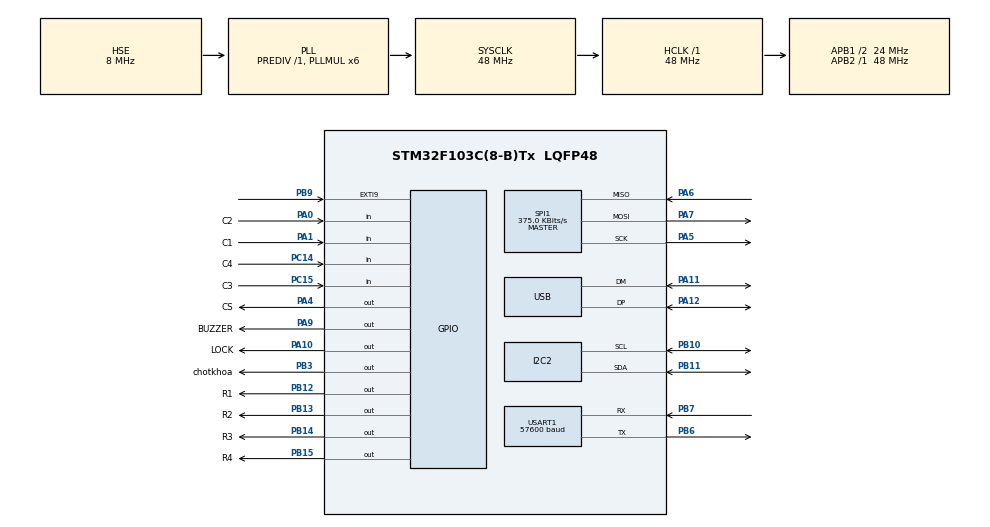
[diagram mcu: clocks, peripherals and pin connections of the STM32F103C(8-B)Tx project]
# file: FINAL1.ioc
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Mcu.Family=STM32F1
Mcu.Name=STM32F103C(8-B)Tx
Mcu.Package=LQFP48
NVIC.EXTI9_5_IRQn=true\:1\:0\:true\:false\:true\:true\:true\:true
NVIC.PriorityGroup=NVIC_PRIORITYGROUP_4
NVIC.TIM2_IRQn=true\:0\:0\:false\:false\:true\:true\:true\:true
NVIC.USB_LP_CAN1_RX0_IRQn=true\:0\:0\:false\:false\:true\:false\:true\:true
PA0-WKUP.GPIO_Label=C2
PA0-WKUP.GPIO_PuPd=GPIO_PULLUP
PA0-WKUP.Signal=GPIO_Input
PA1.GPIO_Label=C1
PA1.GPIO_PuPd=GPIO_PULLUP
PA1.Signal=GPIO_Input
PA10.GPIO_Label=LOCK
PA10.GPIO_PuPd=GPIO_PULLUP
PA10.GPIO_Speed=GPIO_SPEED_FREQ_HIGH
PA10.PinState=GPIO_PIN_SET
PA10.Signal=GPIO_Output
PA11.Mode=Device
PA11.Signal=USB_DM
PA12.Mode=Device
PA12.Signal=USB_DP
PA13.Mode=Serial_Wire
PA13.Signal=SYS_JTMS-SWDIO
PA14.Mode=Serial_Wire
PA14.Signal=SYS_JTCK-SWCLK
PA4.GPIO_Label=CS
PA4.Signal=GPIO_Output
PA5.Mode=Full_Duplex_Master
PA5.Signal=SPI1_SCK
PA6.Mode=Full_Duplex_Master
PA6.Signal=SPI1_MISO
PA7.Mode=Full_Duplex_Master
PA7.Signal=SPI1_MOSI
PA9.GPIO_Label=BUZZER
PA9.GPIO_ModeDefaultOutputPP=GPIO_MODE_OUTPUT_OD
PA9.GPIO_PuPd=GPIO_NOPULL
PA9.GPIO_Speed=GPIO_SPEED_FREQ_HIGH
PA9.Signal=GPIO_Output
PB10.Mode=I2C
PB10.Signal=I2C2_SCL
PB11.Mode=I2C
PB11.Signal=I2C2_SDA
PB12.GPIO_Label=R1
PB12.GPIO_PuPd=GPIO_PULLUP
PB12.GPIO_Speed=GPIO_SPEED_FREQ_HIGH
PB12.Signal=GPIO_Output
PB13.GPIO_Label=R2
PB13.GPIO_PuPd=GPIO_PULLUP
PB13.GPIO_Speed=GPIO_SPEED_FREQ_HIGH
PB13.Signal=GPIO_Output
PB14.GPIO_Label=R3
PB14.GPIO_PuPd=GPIO_PULLUP
PB14.GPIO_Speed=GPIO_SPEED_FREQ_HIGH
PB14.Signal=GPIO_Output
PB15.GPIO_Label=R4
PB15.GPIO_PuPd=GPIO_PULLUP
PB15.GPIO_Speed=GPIO_SPEED_FREQ_HIGH
PB15.Signal=GPIO_Output
PB3.GPIO_Label=chotkhoa
PB3.Signal=GPIO_Output
PB6.Mode=Asynchronous
PB6.Signal=USART1_TX
PB7.Mode=Asynchronous
PB7.Signal=USART1_RX
PB9.GPIO_PuPd=GPIO_PULLUP
PB9.Signal=GPXTI9
PC14-OSC32_IN.GPIO_Label=C4
PC14-OSC32_IN.GPIO_PuPd=GPIO_PULLUP
PC14-OSC32_IN.Signal=GPIO_Input
PC15-OSC32_OUT.GPIO_Label=C3
PC15-OSC32_OUT.GPIO_PuPd=GPIO_PULLUP
PC15-OSC32_OUT.Signal=GPIO_Input
PD0-OSC_IN.Mode=HSE-External-Oscillator
PD0-OSC_IN.Signal=RCC_OSC_IN
PD1-OSC_OUT.Mode=HSE-External-Oscillator
PD1-OSC_OUT.Signal=RCC_OSC_OUT
ProjectManager.HeapSize=0x200
ProjectManager.StackSize=0x400
ProjectManager.TargetToolchain=STM32CubeIDE
RCC.AHBFreq_Value=48000000
RCC.APB1CLKDivider=RCC_HCLK_DIV2
RCC.APB1Freq_Value=24000000
RCC.APB1TimFreq_Value=48000000
RCC.APB2Freq_Value=48000000
RCC.APB2TimFreq_Value=48000000
RCC.HCLKFreq_Value=48000000
RCC.PLLMUL=RCC_PLL_MUL6
RCC.PLLSourceVirtual=RCC_PLLSOURCE_HSE
RCC.SYSCLKFreq_VALUE=48000000
RCC.SYSCLKSource=RCC_SYSCLKSOURCE_PLLCLK
RCC.USBFreq_Value=48000000
SPI1.BaudRatePrescaler=SPI_BAUDRATEPRESCALER_128
SPI1.CalculateBaudRate=375.0 KBits/s
SPI1.Direction=SPI_DIRECTION_2LINES
SPI1.Mode=SPI_MODE_MASTER
SPI1.VirtualType=VM_MASTER
TIM2.AutoReloadPreload=TIM_AUTORELOAD_PRELOAD_ENABLE
TIM2.Period=1999
TIM2.Prescaler=35999
USART1.BaudRate=57600
USART1.VirtualMode=VM_ASYNC
USB_DEVICE.APP_RX_DATA_SIZE=128
USB_DEVICE.APP_TX_DATA_SIZE=128
USB_DEVICE.CLASS_NAME_FS=CDC
USB_DEVICE.VirtualMode=Cdc
USB_DEVICE.VirtualModeFS=Cdc_FS
VP_TIM2_VS_ClockSourceINT.Mode=Internal
VP_USB_DEVICE_VS_USB_DEVICE_CDC_FS.Mode=CDC_FS
board=custom

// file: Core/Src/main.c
/* USER CODE BEGIN Header */
/**
  ******************************************************************************
  * @file           : main.c
  * @brief          : Main program body
  ******************************************************************************
  * @attention
  *
  * <h2><center>&copy; Copyright (c) 2024 STMicroelectronics.
  * All rights reserved.</center></h2>
  *
  * This software component is licensed by ST under Ultimate Liberty license
  * SLA0044, the "License"; You may not use this file except in compliance with
  * the License. You may obtain a copy of the License at:
  *                             www.st.com/SLA0044
  *
  ******************************************************************************
  */
/* USER CODE END Header */
#include "main.h"
#include "usb_device.h"

/* USER CODE BEGIN Includes */
#include "KeyPad.h"
#include "CLCD_I2C.h"
#include "rc522.h"
#include "flash.h"
#include "fingerprint.h"
/* USER CODE END Includes */

/* USER CODE BEGIN PD */
#define StartAddressUID 0x0800F000
#define StartAddressPassword 0x0800F400
#define StartAddressFingerID 0x0800F800
#define Delaymenu 20
#define opendoortime 3000
/* USER CODE END PD */

I2C_HandleTypeDef hi2c2;

SPI_HandleTypeDef hspi1;

TIM_HandleTypeDef htim2;

UART_HandleTypeDef huart1;

/* USER CODE BEGIN PV */
volatile int8_t Rx_Buffer[128];
char Tx_Buffer[10];
CLCD_I2C_Name LCD1;
uint8_t CardID[MFRC522_MAX_LEN];
uint8_t FingerID[1];
uint8_t exitmenu = 255;
uint32_t AddressUID = StartAddressUID;

uint32_t time_cho;
char mess[10];
extern uint8_t pID;
int tmp;
uint8_t ID=0;
uint8_t fingerprint_detected = 0; // Biến c�? để đánh dấu trạng thái vân tay
/* USER CODE END PV */

void SystemClock_Config(void);
static void MX_GPIO_Init(void);
static void MX_SPI1_Init(void);
static void MX_I2C2_Init(void);
static void MX_USART1_UART_Init(void);
static void MX_TIM2_Init(void);
/* USER CODE BEGIN PFP */
void RFID(void);
void FACEID(void);
void FINGER(void);
void PASSWORD(void);
uint8_t CheckUID(uint8_t *data, uint32_t address);
uint8_t CheckListUID(uint8_t *data);
uint8_t checkcountUID(void);
void adduid(uint8_t key);
void checkthe(void);
uint32_t CheckKey(uint8_t key);
void removeuid(uint32_t addressrm);
void startadd(void);
void setaddress(void);
void remoall(void);
void startface(void);
void addface(uint8_t key);
void removeface(uint8_t key);
uint8_t checkfaceid(uint8_t key);
void add_finger();
void read_finger();
void remove_id_finger();
void remove_all_finger();
uint32_t CheckKeyFinger(uint8_t key);
void AddFingerID(uint8_t key);
void RemoveFingerID(uint32_t addressrm);
void enter_password(char *password);
void change_password(void);
uint8_t check_password(char *password);
void set_default_password(void);
void opendoor(void);
void buzzer( uint8_t countbeep);
uint8_t InputID_ADMIN(void);
uint8_t InputID_USER(void);
uint8_t InputID_FINGER();
uint8_t InputID_FACE();
/* USER CODE END PFP */

/* USER CODE BEGIN 0 */
void HAL_TIM_PeriodElapsedCallback(TIM_HandleTypeDef *htim)
{
	if(exitmenu > 0)
		exitmenu --;
	else exitmenu = 0;
}
void check_fingerprint_status()
{
    uint8_t status = collect_finger(); // Hàm kiểm tra trạng thái vân tay
    if (status == 0x00) // Nếu phát hiện vân tay
    {
        fingerprint_detected = 1; // �?ặt c�? báo hiệu
    }
}
void process_fingerprint()
{
    if (fingerprint_detected) // Nếu có vân tay
    {
        fingerprint_detected = 0; // Xóa c�?
        read_finger(); // G�?i hàm xử lý vân tay
    }
}

uint8_t InputID(const char *prompt, uint8_t min, uint8_t max) {
    uint16_t id = 0;
    char id_str[4] = {0};
    uint8_t index = 0;
    char display_prompt[16];
    snprintf(display_prompt, sizeof(display_prompt), "Enter ID (%d-%d):", min, max);
    CLCD_I2C_Display(&LCD1, display_prompt, "ID= ");
    uint32_t start_time = HAL_GetTick();
    while (1) {
        if (HAL_GetTick() - start_time > 15000) { // 15 seconds timeout
            CLCD_I2C_Display(&LCD1, "TIMEOUT", "Try again");
            buzzer(5);
            HAL_Delay(2000);
            exitmenu = Delaymenu;
            return 0; // Return 0 to indicate timeout
        }
        char key = KeyPad_WaitForKeyGetChar(10);
        if (key >= '0' && key <= '9' && index < 3) {
            buzzer(1);
            id_str[index++] = key;
            CLCD_I2C_WriteChar(&LCD1, key);
        } else if (key == '#' && index > 0) {
            buzzer(1);
            id = atoi(id_str);
            if (id >= min && id <= max) {
                break;
            } else {
                CLCD_I2C_Display(&LCD1, "Invalid ID", display_prompt);
                buzzer(5);
                HAL_Delay(2000);
                CLCD_I2C_Display(&LCD1, display_prompt, "ID= ");
                memset(id_str, 0, sizeof(id_str));
                index = 0;
                start_time = HAL_GetTick(); // Reset the timer
            }
        }
    }
    CLCD_I2C_SetCursor(&LCD1, 4, 1);
    CLCD_I2C_WriteString(&LCD1, id_str);
    HAL_Delay(1000);
    return id;
}

uint8_t InputID_ADMIN() {
    return InputID("EnterID (1-27):", 1, 27);
}

uint8_t InputID_USER() {
    return InputID("EnterID (1-100):", 1, 100);
}

uint8_t InputID_FINGER() {
    return InputID("EnterID (1-127):", 1, 127);
}

uint8_t InputID_FACE() {
    return InputID("EnterID (1-127):", 1, 127);
}
/* USER CODE END 0 */

int main(void)
{

  /* MCU Configuration--------------------------------------------------------*/

  /* Reset of all peripherals, Initializes the Flash interface and the Systick. */
  HAL_Init();

  /* Configure the system clock */
  SystemClock_Config();

  /* Initialize all configured peripherals */
  MX_GPIO_Init();
  MX_SPI1_Init();
  MX_I2C2_Init();
  MX_USART1_UART_Init();
  MX_TIM2_Init();
  MX_USB_DEVICE_Init();
  /* USER CODE BEGIN 2 */
  TM_MFRC522_Init();
  KeyPad_Init();
  CLCD_I2C_Init(&LCD1, &hi2c2, 0x4E, 16, 2);

  HAL_GPIO_WritePin(BUZZER_GPIO_Port, BUZZER_Pin,1);
  HAL_GPIO_WritePin(LOCK_GPIO_Port, LOCK_Pin, 0);

  // Check if the password is set, if not, set the default password
  char stored_password[7] = {0};
  Flash_Read_Array(StartAddressPassword, (uint8_t *)stored_password, 6);
  stored_password[6] = '\0';
  int is_empty = 1;
  for (int i = 0; i < 6; i++) {
      if (stored_password[i] != (char)0xFF) {
          is_empty = 0;
          break;
      }
  }
  if (is_empty) {
      set_default_password();
  }
  /* USER CODE END 2 */

  /* Infinite loop */
  /* USER CODE BEGIN WHILE */
  HAL_TIM_Base_Start_IT(&htim2);
  if (checkcountUID() == 0)
  {
      startadd();
  }
  int incorrect_attempts = 0;
  while (1)
  {
    /* USER CODE END WHILE */

    /* USER CODE BEGIN 3 */
    CLCD_I2C_Clear(&LCD1);
    CLCD_I2C_SetCursor(&LCD1, 0, 0);
    CLCD_I2C_WriteString(&LCD1, " SCAN YOUR CARD");

    char selected_key = KeyPad_WaitForKeyGetChar(10); // Ch�? vô hạn cho đ���n khi có phím nhấn.

    if (selected_key == '#')
    {
    	buzzer(1);
        char entered_password[7] = {0};
        CLCD_I2C_Display(&LCD1, "ENTER PASSWORD", "");
        enter_password(entered_password);
        if (check_password(entered_password)) {
            CLCD_I2C_Display(&LCD1, "    WELCOME", "");
            opendoor();
            incorrect_attempts = 0; // Reset incorrect attempts on successful login
        } else {
            incorrect_attempts++;
            CLCD_I2C_Display(&LCD1, "WRONG PASSWORD", "");
            buzzer(5);
            int delay_time = 0;
            if (incorrect_attempts == 1) {
                delay_time = 5;
            } else if (incorrect_attempts == 2) {
                delay_time = 10;
            } else if (incorrect_attempts >= 3) {
                delay_time = 20;
            }
            for (int i = delay_time; i > 0; i--) {
                char buffer[16];
                snprintf(buffer, sizeof(buffer), "     WAIT %ds", i);
                CLCD_I2C_Display(&LCD1, buffer, "  TO TRY AGAIN");
                HAL_Delay(1000);
            }
        }
        HAL_Delay(2000);
        CLCD_I2C_Clear(&LCD1);
    }
    else if (selected_key != 0)
    {
    	buzzer(1);
        uint8_t key = 0; // Key quản lý quy�?n truy cập.
        exitmenu = 15;

        switch (selected_key)
        {
        case 'A': // RFID
        case 'B': // FACEID
        case 'C': // FINGER
        case 'D': // PASSWORD
            CLCD_I2C_SetCursor(&LCD1, 0, 1);
            CLCD_I2C_WriteString(&LCD1, "   Admin Card");

            while (exitmenu)
            {
                if (TM_MFRC522_Check(CardID) == MI_OK)
                {
                    key = CheckListUID(CardID);
                    key = key >> 7;
                    break;
                }
            }

            switch (key)
            {
            case 1:
                if (selected_key == 'A')
                    RFID();
                else if (selected_key == 'B')
                    FACEID();
                else if (selected_key == 'C')
                    FINGER();
                else if (selected_key == 'D')
                    PASSWORD();
                break;
            default:
                CLCD_I2C_Clear(&LCD1);
                CLCD_I2C_SetCursor(&LCD1, 0, 0);
                CLCD_I2C_WriteString(&LCD1, "NOT ACCESSIBLE");
                buzzer(5);
                HAL_Delay(2000);
                CLCD_I2C_Clear(&LCD1);
                break;
            }
            break;

        default:
            break;
        }
    }
    else if (TM_MFRC522_Check(CardID) == MI_OK)
    {
        if (CheckListUID(CardID) != 0)
        {
            CLCD_I2C_Clear(&LCD1);
            CLCD_I2C_SetCursor(&LCD1, 0, 0);
            CLCD_I2C_WriteString(&LCD1, "    WELCOME");
            opendoor();
        }
        else
        {
            CLCD_I2C_Clear(&LCD1);
            CLCD_I2C_SetCursor(&LCD1, 0, 0);
            CLCD_I2C_WriteString(&LCD1, "   WRONG CARD");
            buzzer(5);
            HAL_Delay(2000);
        }
    }
    else if(Rx_Buffer[0]!= 0)
    {
        startface();
    }

    // Kiểm tra trạng thái vân tay định kỳ
    check_fingerprint_status();

    // Xử lý vân tay nếu phát hiện
    process_fingerprint();

  }
  /* USER CODE END 3 */
}

void SystemClock_Config(void)
{
  RCC_OscInitTypeDef RCC_OscInitStruct = {0};
  RCC_ClkInitTypeDef RCC_ClkInitStruct = {0};
  RCC_PeriphCLKInitTypeDef PeriphClkInit = {0};

  /** Initializes the RCC Oscillators according to the specified parameters
  * in the RCC_OscInitTypeDef structure.
  */
  RCC_OscInitStruct.OscillatorType = RCC_OSCILLATORTYPE_HSE;
  RCC_OscInitStruct.HSEState = RCC_HSE_ON;
  RCC_OscInitStruct.HSEPredivValue = RCC_HSE_PREDIV_DIV1;
  RCC_OscInitStruct.HSIState = RCC_HSI_ON;
  RCC_OscInitStruct.PLL.PLLState = RCC_PLL_ON;
  RCC_OscInitStruct.PLL.PLLSource = RCC_PLLSOURCE_HSE;
  RCC_OscInitStruct.PLL.PLLMUL = RCC_PLL_MUL6;
  if (HAL_RCC_OscConfig(&RCC_OscInitStruct) != HAL_OK)
  {
    Error_Handler();
  }
  /** Initializes the CPU, AHB and APB buses clocks
  */
  RCC_ClkInitStruct.ClockType = RCC_CLOCKTYPE_HCLK|RCC_CLOCKTYPE_SYSCLK
                              |RCC_CLOCKTYPE_PCLK1|RCC_CLOCKTYPE_PCLK2;
  RCC_ClkInitStruct.SYSCLKSource = RCC_SYSCLKSOURCE_PLLCLK;
  RCC_ClkInitStruct.AHBCLKDivider = RCC_SYSCLK_DIV1;
  RCC_ClkInitStruct.APB1CLKDivider = RCC_HCLK_DIV2;
  RCC_ClkInitStruct.APB2CLKDivider = RCC_HCLK_DIV1;

  if (HAL_RCC_ClockConfig(&RCC_ClkInitStruct, FLASH_LATENCY_1) != HAL_OK)
  {
    Error_Handler();
  }
  PeriphClkInit.PeriphClockSelection = RCC_PERIPHCLK_USB;
  PeriphClkInit.UsbClockSelection = RCC_USBCLKSOURCE_PLL;
  if (HAL_RCCEx_PeriphCLKConfig(&PeriphClkInit) != HAL_OK)
  {
    Error_Handler();
  }
}

static void MX_I2C2_Init(void)
{

  hi2c2.Instance = I2C2;
  hi2c2.Init.ClockSpeed = 100000;
  hi2c2.Init.DutyCycle = I2C_DUTYCYCLE_2;
  hi2c2.Init.OwnAddress1 = 0;
  hi2c2.Init.AddressingMode = I2C_ADDRESSINGMODE_7BIT;
  hi2c2.Init.DualAddressMode = I2C_DUALADDRESS_DISABLE;
  hi2c2.Init.OwnAddress2 = 0;
  hi2c2.Init.GeneralCallMode = I2C_GENERALCALL_DISABLE;
  hi2c2.Init.NoStretchMode = I2C_NOSTRETCH_DISABLE;
  if (HAL_I2C_Init(&hi2c2) != HAL_OK)
  {
    Error_Handler();
  }

}

static void MX_SPI1_Init(void)
{

  /* SPI1 parameter configuration*/
  hspi1.Instance = SPI1;
  hspi1.Init.Mode = SPI_MODE_MASTER;
  hspi1.Init.Direction = SPI_DIRECTION_2LINES;
  hspi1.Init.DataSize = SPI_DATASIZE_8BIT;
  hspi1.Init.CLKPolarity = SPI_POLARITY_LOW;
  hspi1.Init.CLKPhase = SPI_PHASE_1EDGE;
  hspi1.Init.NSS = SPI_NSS_SOFT;
  hspi1.Init.BaudRatePrescaler = SPI_BAUDRATEPRESCALER_128;
  hspi1.Init.FirstBit = SPI_FIRSTBIT_MSB;
  hspi1.Init.TIMode = SPI_TIMODE_DISABLE;
  hspi1.Init.CRCCalculation = SPI_CRCCALCULATION_DISABLE;
  hspi1.Init.CRCPolynomial = 10;
  if (HAL_SPI_Init(&hspi1) != HAL_OK)
  {
    Error_Handler();
  }

}

static void MX_TIM2_Init(void)
{

  TIM_ClockConfigTypeDef sClockSourceConfig = {0};
  TIM_MasterConfigTypeDef sMasterConfig = {0};

  htim2.Instance = TIM2;
  htim2.Init.Prescaler = 35999;
  htim2.Init.CounterMode = TIM_COUNTERMODE_UP;
  htim2.Init.Period = 1999;
  htim2.Init.ClockDivision = TIM_CLOCKDIVISION_DIV1;
  htim2.Init.AutoReloadPreload = TIM_AUTORELOAD_PRELOAD_ENABLE;
  if (HAL_TIM_Base_Init(&htim2) != HAL_OK)
  {
    Error_Handler();
  }
  sClockSourceConfig.ClockSource = TIM_CLOCKSOURCE_INTERNAL;
  if (HAL_TIM_ConfigClockSource(&htim2, &sClockSourceConfig) != HAL_OK)
  {
    Error_Handler();
  }
  sMasterConfig.MasterOutputTrigger = TIM_TRGO_RESET;
  sMasterConfig.MasterSlaveMode = TIM_MASTERSLAVEMODE_DISABLE;
  if (HAL_TIMEx_MasterConfigSynchronization(&htim2, &sMasterConfig) != HAL_OK)
  {
    Error_Handler();
  }

}

static void MX_USART1_UART_Init(void)
{

  huart1.Instance = USART1;
  huart1.Init.BaudRate = 57600;
  huart1.Init.WordLength = UART_WORDLENGTH_8B;
  huart1.Init.StopBits = UART_STOPBITS_1;
  huart1.Init.Parity = UART_PARITY_NONE;
  huart1.Init.Mode = UART_MODE_TX_RX;
  huart1.Init.HwFlowCtl = UART_HWCONTROL_NONE;
  huart1.Init.OverSampling = UART_OVERSAMPLING_16;
  if (HAL_UART_Init(&huart1) != HAL_OK)
  {
    Error_Handler();
  }

}

static void MX_GPIO_Init(void)
{
  GPIO_InitTypeDef GPIO_InitStruct = {0};

  /* GPIO Ports Clock Enable */
  __HAL_RCC_GPIOC_CLK_ENABLE();
  __HAL_RCC_GPIOD_CLK_ENABLE();
  __HAL_RCC_GPIOA_CLK_ENABLE();
  __HAL_RCC_GPIOB_CLK_ENABLE();

  /*Configure GPIO pin Output Level */
  HAL_GPIO_WritePin(GPIOA, CS_Pin|BUZZER_Pin, GPIO_PIN_RESET);

  /*Configure GPIO pin Output Level */
  HAL_GPIO_WritePin(GPIOB, R1_Pin|R2_Pin|R3_Pin|R4_Pin
                          |chotkhoa_Pin, GPIO_PIN_RESET);

  /*Configure GPIO pin Output Level */
  HAL_GPIO_WritePin(LOCK_GPIO_Port, LOCK_Pin, GPIO_PIN_SET);

  /*Configure GPIO pins : C4_Pin C3_Pin */
  GPIO_InitStruct.Pin = C4_Pin|C3_Pin;
  GPIO_InitStruct.Mode = GPIO_MODE_INPUT;
  GPIO_InitStruct.Pull = GPIO_PULLUP;
  HAL_GPIO_Init(GPIOC, &GPIO_InitStruct);

  /*Configure GPIO pins : C2_Pin C1_Pin */
  GPIO_InitStruct.Pin = C2_Pin|C1_Pin;
  GPIO_InitStruct.Mode = GPIO_MODE_INPUT;
  GPIO_InitStruct.Pull = GPIO_PULLUP;
  HAL_GPIO_Init(GPIOA, &GPIO_InitStruct);

  /*Configure GPIO pin : CS_Pin */
  GPIO_InitStruct.Pin = CS_Pin;
  GPIO_InitStruct.Mode = GPIO_MODE_OUTPUT_PP;
  GPIO_InitStruct.Pull = GPIO_NOPULL;
  GPIO_InitStruct.Speed = GPIO_SPEED_FREQ_LOW;
  HAL_GPIO_Init(CS_GPIO_Port, &GPIO_InitStruct);

  /*Configure GPIO pins : R1_Pin R2_Pin R3_Pin R4_Pin */
  GPIO_InitStruct.Pin = R1_Pin|R2_Pin|R3_Pin|R4_Pin;
  GPIO_InitStruct.Mode = GPIO_MODE_OUTPUT_PP;
  GPIO_InitStruct.Pull = GPIO_PULLUP;
  GPIO_InitStruct.Speed = GPIO_SPEED_FREQ_HIGH;
  HAL_GPIO_Init(GPIOB, &GPIO_InitStruct);

  /*Configure GPIO pin : BUZZER_Pin */
  GPIO_InitStruct.Pin = BUZZER_Pin;
  GPIO_InitStruct.Mode = GPIO_MODE_OUTPUT_OD;
  GPIO_InitStruct.Pull = GPIO_NOPULL;
  GPIO_InitStruct.Speed = GPIO_SPEED_FREQ_HIGH;
  HAL_GPIO_Init(BUZZER_GPIO_Port, &GPIO_InitStruct);

  /*Configure GPIO pin : LOCK_Pin */
  GPIO_InitStruct.Pin = LOCK_Pin;
  GPIO_InitStruct.Mode = GPIO_MODE_OUTPUT_PP;
  GPIO_InitStruct.Pull = GPIO_PULLUP;
  GPIO_InitStruct.Speed = GPIO_SPEED_FREQ_HIGH;
  HAL_GPIO_Init(LOCK_GPIO_Port, &GPIO_InitStruct);

  /*Configure GPIO pin : chotkhoa_Pin */
  GPIO_InitStruct.Pin = chotkhoa_Pin;
  GPIO_InitStruct.Mode = GPIO_MODE_OUTPUT_PP;
  GPIO_InitStruct.Pull = GPIO_NOPULL;
  GPIO_InitStruct.Speed = GPIO_SPEED_FREQ_LOW;
  HAL_GPIO_Init(chotkhoa_GPIO_Port, &GPIO_InitStruct);

  /*Configure GPIO pin : PB9 */
  GPIO_InitStruct.Pin = GPIO_PIN_9;
  GPIO_InitStruct.Mode = GPIO_MODE_IT_RISING;
  GPIO_InitStruct.Pull = GPIO_PULLUP;
  HAL_GPIO_Init(GPIOB, &GPIO_InitStruct);

  /* EXTI interrupt init*/
  HAL_NVIC_SetPriority(EXTI9_5_IRQn, 1, 0);
  HAL_NVIC_EnableIRQ(EXTI9_5_IRQn);

}

/* USER CODE BEGIN 4 */
void RFID(void)
{
	buzzer(1);
	exitmenu = Delaymenu;
	uint8_t status = -1;
	CLCD_I2C_Display(&LCD1," RFID SETTINGS ","Pls Press DOWN");
	while (exitmenu )
	{
		char key_pressed = KeyPad_WaitForKeyGetChar(10);
		if (key_pressed =='*')
		{
			buzzer(1);
			exitmenu = Delaymenu;
			status++;
			status = (status > 2) ? (-1) : status;
			switch (status)
			{
			case 0:
				CLCD_I2C_Display(&LCD1," RFID SETTINGS ","=> Add Card");
				break;
			case 1:
				CLCD_I2C_Display(&LCD1," RFID SETTINGS ","=> Remove Card");
				break;
			case 2:
				CLCD_I2C_Display(&LCD1," RFID SETTINGS ","=> Check Card");
				break;
			default:
				CLCD_I2C_Display(&LCD1," RFID SETTINGS ","=> Back");
				break;
			}
		}
		if (key_pressed =='#')
		{
			buzzer(1);
			exitmenu = Delaymenu;
			switch (status)
			{
			case 0:
				CLCD_I2C_Display(&LCD1,"  Please Press","      DOWN");
				uint8_t statusadd = -1;
				uint8_t back = 1;
				while (back == 1)
				{
					key_pressed = KeyPad_WaitForKeyGetChar(10);
					if (exitmenu == 0)
					{
						CLCD_I2C_Clear(&LCD1);
						HAL_Delay(1000);
						return;
					}
					if (key_pressed =='*')
					{
						buzzer(1);
						exitmenu = Delaymenu;
						statusadd++;
						statusadd = (statusadd > 1) ? (-1) : statusadd;
						switch (statusadd)
						{
						case 0:
							CLCD_I2C_Display(&LCD1,"CARD: ADD","=> Admin Card");
							break;
						case 1:
							CLCD_I2C_Display(&LCD1,"CARD: ADD","=> User Card");
							break;
						default:
							CLCD_I2C_Display(&LCD1,"CARD: ADD","=> Back");
							break;
						}
					}
					if (key_pressed =='#')
					{
						buzzer(1);
						exitmenu = Delaymenu;
						switch (statusadd)
						{
						case 0:
							uint8_t AdminID = InputID_ADMIN();
							uint8_t keyadd_admin = (1 << 7) + AdminID;
							if (CheckKey(keyadd_admin)!=0)
							{
								CLCD_I2C_Display(&LCD1," ID is existing"," Pick another ID");
								buzzer(3);
								HAL_Delay(1000);
							}
							else
							{
								adduid(keyadd_admin);
							}
							CLCD_I2C_Display(&LCD1,"CARD: ADD","=> Admin Card");
							break;
						case 1:
							uint8_t UserID = InputID_USER();
							uint8_t keyadd_user = (0 << 7) + UserID;
							if (CheckKey(keyadd_user)!=0)
							{
								CLCD_I2C_Display(&LCD1," ID is existing"," Pick another ID");
								buzzer(3);
								HAL_Delay(1000);
							}
							else
							{
								adduid(keyadd_user);
							}
							CLCD_I2C_Display(&LCD1,"CARD: ADD","=> User Card");
							break;
						default:
							back = 0;
							break;
						}
					}
				}
				CLCD_I2C_Display(&LCD1," RFID SETTINGS ","=> Add Card");
				break;
			case 1:
				CLCD_I2C_Display(&LCD1,"  Please Press","      DOWN");
				uint8_t statusremove = -1;
				uint8_t backrm = 1;
				while (backrm == 1)
				{
					key_pressed = KeyPad_WaitForKeyGetChar(10);
					if (exitmenu == 0)
					{
						CLCD_I2C_Clear(&LCD1);
						HAL_Delay(1000);
						return;
					}
					if (key_pressed =='*')
					{
						buzzer(1);
						exitmenu = Delaymenu;
						statusremove++;
						statusremove = (statusremove > 1) ? (-1) : statusremove;
						switch (statusremove)
						{
						case 0:
							CLCD_I2C_Display(&LCD1,"CARD: REMOVE","=> Remove 1 Card");
							break;
						case 1:
							CLCD_I2C_Display(&LCD1,"CARD: REMOVE","=> Remove ALL");
							break;
						default:
							CLCD_I2C_Display(&LCD1,"CARD: REMOVE","=> Back");
							break;
						}
					}
					if (key_pressed =='#')
					{
						buzzer(1);
						CLCD_I2C_Display(&LCD1,"  Please Press","      DOWN");
						exitmenu = Delaymenu;
						switch (statusremove)
						{
						case 0:
							uint8_t statusrm1 = -1;
							uint8_t backrm1 = 1;
							while (backrm1 == 1)
							{
								key_pressed = KeyPad_WaitForKeyGetChar(10);
								if (exitmenu == 0)
								{
									CLCD_I2C_Clear(&LCD1);
									HAL_Delay(1000);
									return;
								}
								if (key_pressed =='*')
								{
									buzzer(1);
									statusrm1++;
									statusrm1 = (statusrm1 > 2) ? 0 : statusrm1;
									switch (statusrm1)
									{
									case 0:
										CLCD_I2C_Display(&LCD1,"MODE: REMOVE 1","=> Select Card");
										break;
									case 1:
										CLCD_I2C_Display(&LCD1,"MODE: REMOVE 1","=> Scan Card");
										break;
									default:
										CLCD_I2C_Display(&LCD1,"MODE: REMOVE 1","=> Back");
										break;
									}
								}
								if (key_pressed =='#')
								{
									buzzer(1);
									exitmenu = Delaymenu;
									switch (statusrm1)
									{
									case 0:
										CLCD_I2C_Display(&LCD1,"  Please Press","      DOWN");
										uint8_t statusadd = -1;
										uint8_t backrm10 = 1;
										while (backrm10 == 1)
										{
											key_pressed = KeyPad_WaitForKeyGetChar(10);
											if (exitmenu == 0)
											{
												CLCD_I2C_Clear(&LCD1);
												HAL_Delay(1000);
												return;
											}
											if (key_pressed =='*')
											{
												buzzer(1);
												exitmenu = Delaymenu;
												statusadd++;
												statusadd = (statusadd > 1) ? (-1) : statusadd;
												switch (statusadd)
												{
												case 0:
													CLCD_I2C_Display(&LCD1,"MODE: RM SELECT","=> RM Admin Card");
													break;
												case 1:
													CLCD_I2C_Display(&LCD1,"MODE: RM SELECT","=> RM User Card");
													break;
												default:
													CLCD_I2C_Display(&LCD1,"MODE: RM SELECT","=> Back");
													break;
												}
											}
											if (key_pressed =='#')
											{
												buzzer(1);
												exitmenu = Delaymenu;
												switch (statusadd)
												{
													case 0:
														uint8_t AdminID = InputID_ADMIN();
														uint8_t keyadd_admin = (1 << 7) + AdminID;
														if (CheckKey(keyadd_admin)==0)
														{
															CLCD_I2C_Display(&LCD1,"ID doesnt exist"," Pick another ID");
															buzzer(3);
															HAL_Delay(1000);
															CLCD_I2C_Display(&LCD1,"MODE: RM SELECT","=> RM Admin Card");
														}
														else
														{
															removeuid(CheckKey(keyadd_admin));
															CLCD_I2C_Display(&LCD1,"REMOVE ADMIN CARD","   SUCCESSFUL  ");
															HAL_Delay(1000);
															if (checkcountUID() == 0)
															{
																startadd();
																exitmenu = 0;
															}
														}
														CLCD_I2C_Display(&LCD1,"MODE: RM SELECT","=> RM Admin Card");
														break;
													case 1:
														uint8_t UserID = InputID_USER();
														uint8_t keyadd_user = (0 << 7) + UserID;
														if (CheckKey(keyadd_user)==0)
														{
															CLCD_I2C_Display(&LCD1,"ID doesnt exist"," Pick another ID");
															buzzer(3);
															HAL_Delay(1000);
														}
														else
														{
															removeuid(CheckKey(keyadd_user));
															CLCD_I2C_Display(&LCD1,"REMOVE USER CARD","   SUCCESSFUL  ");
															HAL_Delay(1000);
															if (checkcountUID() == 0)
															{
																startadd();
																exitmenu = 0;
															}
														}
														CLCD_I2C_Display(&LCD1,"MODE: RM SELECT","=> RM User Card");
														break;
													default:
														backrm10 = 0;
														break;
												}
											}
										}
										CLCD_I2C_Display(&LCD1,"MODE: REMOVE 1","=> Select Card");
										break;
									case 1:
										CLCD_I2C_Display(&LCD1,"PLS SCAN CARD","=> Back");
										uint8_t rmquet = 1;
										while (rmquet)
										{
											key_pressed = KeyPad_WaitForKeyGetChar(10);
											if (TM_MFRC522_Check(CardID) == MI_OK)
											{
												if (CheckListUID(CardID) != 0)
												{
													removeuid(CheckKey(CheckListUID(CardID)));
													CLCD_I2C_Display(&LCD1,"  DELETE CARD ","   SUCCESSFUL  ");
													HAL_Delay(1000);
													if (checkcountUID() == 0)
													{
														startadd();
														rmquet = 1;
														exitmenu = 0;
														return;
													}else{
														CLCD_I2C_Display(&LCD1,"PLS SCAN CARD","=> Back");
													}
												}
												else
												{
													CLCD_I2C_Display(&LCD1, "   This card","  Do not exist");
													buzzer(3);
													HAL_Delay(1000);
													CLCD_I2C_Display(&LCD1,"PLS SCAN CARD","=> Back");
												}
											}
											if (key_pressed =='#')
											{
												buzzer(1);
												rmquet = 0;
											}
										}
										CLCD_I2C_Display(&LCD1,"MODE: REMOVE 1","=> Scan Card");
										break;
									default:
										backrm1 = 0;
										break;
									}
								}
							}
							CLCD_I2C_Display(&LCD1,"CARD: REMOVE","=> Remove 1 Card");
							break;
						case 1:
							remoall();
							startadd();
							exitmenu = 0;
							break;
						default:
							backrm = 0;
							break;
						}
					}
				}
				CLCD_I2C_Display(&LCD1," RFID SETTINGS ","=> Remove Card");
				break;
			case 2:
				checkthe();
				CLCD_I2C_Display(&LCD1," RFID SETTINGS ","=> Check Card");
				break;
			default:
				exitmenu = 0;
				break;
			}
		}
	}
	CLCD_I2C_Clear(&LCD1);
}

uint8_t CheckListUID(uint8_t *data)
{
    uint32_t pt = StartAddressUID;
    while (Flash_Read_Byte(pt + 5) != 0xFF)
    {
        if (Flash_Read_2Byte(pt + 6) == 0xFFFF)
        {
            if (CheckUID(data, pt) == 1)
                return *(uint8_t *)(pt + 5);
        }
        pt = pt + 8;
    }
    return 0;
}

uint8_t checkcountUID(void)
{
    uint32_t pt = StartAddressUID;
    uint8_t count = 0;
    while (Flash_Read_Byte(pt + 5) != 0xFF)
    {
        if (Flash_Read_2Byte(pt + 6) == 0xFFFF)
        {
            if ((Flash_Read_Byte(pt + 5) >> 7) == 1)
            {
                count++;
            }
        }
        pt = pt + 8;
    }
    return count;
}

void adduid(uint8_t key)
{
    setaddress();
    CLCD_I2C_Display(&LCD1, "SCAN CARD", "=> Back");
    while (exitmenu)
    {
        if (TM_MFRC522_Check(CardID) == MI_OK)
        {
            HAL_Delay(100);
            if (CheckListUID(CardID) == 0)
            {
                buzzer(1);
                CardID[5] = key;
                Flash_Write_Array(AddressUID, CardID, 6);
                AddressUID += 8;
                CLCD_I2C_Clear(&LCD1);
                CLCD_I2C_SetCursor(&LCD1, 0, 0);
                CLCD_I2C_WriteString(&LCD1, "   SUCCESSFUL");
                HAL_Delay(1000);
                return;
            }
            else
            {
                CLCD_I2C_Clear(&LCD1);
                CLCD_I2C_SetCursor(&LCD1, 0, 0);
                CLCD_I2C_WriteString(&LCD1, "CARD EXISTED");
                buzzer(3);
                HAL_Delay(1000);
                CLCD_I2C_Display(&LCD1, "SCAN CARD", "=> Back");
            }
        }
        if (KeyPad_WaitForKeyGetChar(100) == '#')
        {
            buzzer(1);
            return;
        }
    }
}

void checkthe(void)
{
    exitmenu = 30;
    CLCD_I2C_Display(&LCD1, "SCAN CARD", "=> Back");
    while (exitmenu)
    {
        if (TM_MFRC522_Check(CardID) == MI_OK)
        {
            if (CheckListUID(CardID) == 0)
            {
                CLCD_I2C_Clear(&LCD1);
                CLCD_I2C_SetCursor(&LCD1, 0, 0);
                CLCD_I2C_WriteString(&LCD1, "CARD DONT EXIST");
                buzzer(3);
                HAL_Delay(1000);
                CLCD_I2C_Display(&LCD1, "SCAN CARD", "=> Back");
                HAL_Delay(1000);
            }
            else
            {
                uint8_t key = CheckListUID(CardID);
                uint8_t key2 = key & 0x7F;
                uint8_t key1 = (key & 0x80) >> 7;
                CLCD_I2C_Clear(&LCD1);
                buzzer(1);
                switch (key1)
                {
                case 1:
                    CLCD_I2C_SetCursor(&LCD1, 0, 0);
                    CLCD_I2C_WriteString(&LCD1, "ADMIN CARD");
                    break;
                default:
                    CLCD_I2C_SetCursor(&LCD1, 0, 0);
                    CLCD_I2C_WriteString(&LCD1, "USER CARD");
                    break;
                }
                char buffer[16];
                snprintf(buffer, sizeof(buffer), "Card ID: %d", key2);
                CLCD_I2C_SetCursor(&LCD1, 0, 1);
                CLCD_I2C_WriteString(&LCD1, buffer);
                HAL_Delay(1000);
                CLCD_I2C_Display(&LCD1, "PLS SCAN CARD", "=> Back");
            }
        }
        if (KeyPad_WaitForKeyGetChar(100) == '#')
        {
            buzzer(1);
            return;
        }
    }
}

uint32_t CheckKey(uint8_t key)
{
    uint32_t pt = StartAddressUID;
    while (Flash_Read_Byte(pt + 5) != 0xFF)
    {
        if (Flash_Read_2Byte(pt + 6) == 0xFFFF)
        {
            if (*(uint8_t *)(pt + 5) == key)
                return pt;
        }
        pt = pt + 8;
    }
    return 0;
}

void FACEID(void) {
	buzzer(1);
	exitmenu = Delaymenu;
	uint8_t status = -1;
	CLCD_I2C_Display(&LCD1,"FACEID SETTINGS ","Pls Press DOWN");
	while (exitmenu )
	{
		char key_pressed = KeyPad_WaitForKeyGetChar(10);
		if (key_pressed == '*')
		{
			buzzer(1);
			exitmenu = Delaymenu;
			status++;
			status = (status > 1) ? (-1) : status;
			switch (status)
			{
			case 0:
				CLCD_I2C_Display(&LCD1,"FACEID SETTINGS ","=> Add FaceID");
				break;
			case 1:
				CLCD_I2C_Display(&LCD1,"FACEID SETTINGS ","=> Remove FaceID");
				break;
			default:
				CLCD_I2C_Display(&LCD1,"FACEID SETTINGS ","=> Back");
				break;
			}
		}
		if (key_pressed == '#')
		{
			buzzer(1);
			exitmenu = Delaymenu;
			switch (status)
			{
			case 0:
				uint8_t FaceID = InputID_FACE();
				if (checkfaceid(FaceID) != 0)
				{
					CLCD_I2C_Display(&LCD1,"    FACEID "," Face Existed ");
					buzzer(3);
					HAL_Delay(1000);
				}
				else
				{
					addface(FaceID);
				}
				CLCD_I2C_Display(&LCD1,"FACEID SETTINGS ","=> Add FaceID");
				break;
			case 1:
				CLCD_I2C_Display(&LCD1,"  Please Press","      DOWN");
				uint8_t statusrm = 0;
				uint8_t backrm = 1;
				while (backrm == 1)
				{
					key_pressed = KeyPad_WaitForKeyGetChar(10);
					if (exitmenu == 0)
					{
						CLCD_I2C_Clear(&LCD1);
						HAL_Delay(1000);
						return;
					}
					if (key_pressed == '*')
					{
						buzzer(1);
						exitmenu = Delaymenu;
						statusrm++;
						statusrm = (statusrm > 2) ? 0 : statusrm;
						switch (statusrm)
						{
						case 1:
							CLCD_I2C_Display(&LCD1,"FACEID: REMOVE","=> Remove 1 Face");
							break;
						case 2:
							CLCD_I2C_Display(&LCD1,"FACEID: REMOVE","=> Remove All");
							break;
						default:
							CLCD_I2C_Display(&LCD1,"FACEID: REMOVE","=> Back");
							break;
						}
					}
					if (key_pressed == '#')
					{
						buzzer(1);
						exitmenu = Delaymenu;
						switch (statusrm)
						{
						case 1:
							uint8_t FaceID = InputID_FACE();
							if (checkfaceid(FaceID) == 0)
							{
								CLCD_I2C_Display(&LCD1, "    FaceID ", "  Do Not Exist");
								buzzer(3);
								HAL_Delay(1000);
							}
							else
							{
								removeface(FaceID);
								CLCD_I2C_Display(&LCD1,"REMOVE FACEID ","   SUCCESSFUL  ");
								HAL_Delay(1000);
							}
							CLCD_I2C_Display(&LCD1,"FACEID: REMOVE","=> Remove 1 Face");
							break;
						case 2:
							sprintf(Tx_Buffer , "Del.ALL" );
							CDC_Transmit_FS(Tx_Buffer, 7);
							CLCD_I2C_Display(&LCD1, "WAITING....", "");
							exitmenu = 60;
							memset(Rx_Buffer, 0, sizeof(Rx_Buffer));
							while(exitmenu != 0){
								if(Rx_Buffer[0] == 'T'){
									CLCD_I2C_Display(&LCD1, "REMOVE ALL FACE","   SUCCESSFUL  ");
									HAL_Delay(2000);
									memset(Rx_Buffer, 0, sizeof(Rx_Buffer));
									break;
								}
							}
							exitmenu = 0;
							break;
						default:
							backrm=0;
							break;
						}
					}
				}
				CLCD_I2C_Display(&LCD1,"FACEID SETTINGS ","=> Remove FaceID");
				break;
			default:
				exitmenu=0;
				break;
			}
		}
	}
	CLCD_I2C_Clear(&LCD1);
}

void FINGER(void) {
	buzzer(1);
	exitmenu = Delaymenu;
	uint8_t status = -1;
	CLCD_I2C_Display(&LCD1,"FINGER SETTING ","Pls Press DOWN");
	while (exitmenu )
	{
		char key_pressed = KeyPad_WaitForKeyGetChar(10);
		if (key_pressed == '*')
		{
			buzzer(1);
			exitmenu = Delaymenu;
			status++;
			status = (status > 1) ? (-1) : status;
			switch (status)
			{
			case 0:
	            CLCD_I2C_Display(&LCD1,"FINGER SETTING ","=> Add Finger");
				break;
			case 1:
	            CLCD_I2C_Display(&LCD1,"FINGER SETTING ","=> Remove Finger");
				break;
			default:
	            CLCD_I2C_Display(&LCD1,"FINGER SETTING ","=> Back");
				break;
			}
		}
		if (key_pressed == '#')
		{
			buzzer(1);
			exitmenu = Delaymenu;
			switch (status)
			{
			case 0:
			    add_finger();
				CLCD_I2C_Display(&LCD1,"FINGER SETTING ","=> Add Finger");
				break;
			case 1:
				CLCD_I2C_Display(&LCD1,"  Please Press","      DOWN");
				uint8_t statusrm = 0;
				uint8_t backrm = 1;
				while (backrm == 1)
				{
					key_pressed = KeyPad_WaitForKeyGetChar(10);
					if (exitmenu == 0)
					{
						CLCD_I2C_Clear(&LCD1);
						HAL_Delay(1000);
						return;
					}
					if (key_pressed == '*')
					{
						buzzer(1);
						exitmenu = Delaymenu;
						statusrm++;
						statusrm = (statusrm > 2) ? 0 : statusrm;
						switch (statusrm)
						{
						case 1:
							CLCD_I2C_Display(&LCD1,"FINGER: REMOVE","=> Remove 1 Finger");
							break;
						case 2:
							CLCD_I2C_Display(&LCD1,"FINGER: REMOVE","=> Remove All");
							break;
						default:
							CLCD_I2C_Display(&LCD1,"FINGER: REMOVE","=> Back");
							break;
						}
					}
					if (key_pressed == '#')
					{
						buzzer(1);
						exitmenu = Delaymenu;
						switch (statusrm)
						{
						case 1:
							remove_id_finger();
							CLCD_I2C_Display(&LCD1,"FINGER SETTING ","=> Remove 1 Finger");
							break;
						case 2:
							remove_all_finger();
							CLCD_I2C_Display(&LCD1,"FINGER SETTING ","=> Remove All");
                			break;
						default:
							backrm=0;
							break;
						}
					}
				}
	            CLCD_I2C_Display(&LCD1,"FINGER SETTING ","=> Remove Finger");
				break;
			default:
				exitmenu=0;
				break;
			}
		}
	}
	CLCD_I2C_Clear(&LCD1);
}

void PASSWORD(void) {
	buzzer(1);
	exitmenu = Delaymenu;
	uint8_t status = -1;
	CLCD_I2C_Display(&LCD1,"PASSWORD SETTING ","Pls Press DOWN");
	while (exitmenu )
	{
		char key_pressed = KeyPad_WaitForKeyGetChar(10);
		if (key_pressed == '*')
		{
			buzzer(1);
			exitmenu = Delaymenu;
			status++;
			status = (status > 2) ? 0 : status;
			switch (status)
			{
			case 0:
	            CLCD_I2C_Display(&LCD1,"PASSWORD SETTING ","=> Change Pass");
				break;
			case 1:
	            CLCD_I2C_Display(&LCD1,"PASSWORD SETTING ","=> Reset Pass");
				break;
			default:
	            CLCD_I2C_Display(&LCD1,"PASSWORD SETTING ","=> Back");
				break;
			}
		}
		if (key_pressed == '#')
		{
			buzzer(1);
			exitmenu = Delaymenu;
			switch (status)
			{
			case 0:
                change_password();
	            CLCD_I2C_Display(&LCD1,"PASSWORD SETTING ","=> Change Pass");
                break;
            case 1:
                set_default_password();
	            CLCD_I2C_Display(&LCD1,"PASSWORD SETTING ","=> Reset Pass");
                break;
            default:
                exitmenu = 0;
                break;
            }
        }
    }
}

uint8_t CheckUID(uint8_t *data, uint32_t address)
{
	uint8_t arr[8];
	Flash_Read_Array(address, arr, 8);
	if (arr[6] != 0xFF)
		return 0;
	for (uint8_t i = 0; i < 5; i++)
	{
		if (data[i] != arr[i])
			return 0;
	}
	return 1;
}

void removeuid(uint32_t addressrm)
{
	Flash_Write_2Byte(addressrm + 6, 0x0000);
}
void startadd(void)
{
	CLCD_I2C_Display(&LCD1, "PLS SCAN CARD","First Admin Card");
	setaddress();
	while (1)
		{
			if (TM_MFRC522_Check(CardID) == MI_OK)
			{
				if (CheckListUID(CardID) == 0)
				{
					CardID[5] = 0x81;
					Flash_Write_Array(AddressUID, CardID, 6);
					AddressUID += 8;
					break;
				}
				else
				{
					CLCD_I2C_Display(&LCD1, "    WARNING!", "Try another card");
					buzzer(5);
					HAL_Delay(1000);
					CLCD_I2C_Display(&LCD1, "PLS SCAN CARD","First Admin Card");
				}
			}
		}
	CLCD_I2C_Display(&LCD1, "ADD SUCCESSFUL","Admin Card 1");
	buzzer(1);
	HAL_Delay(1000);
	CLCD_I2C_Clear(&LCD1);
}
void setaddress(void){
	uint32_t pt = StartAddressUID;
	while (Flash_Read_Byte(pt + 5) != 0xFF)
	{
		pt = pt + 8;
	}
	AddressUID = pt;
}

void remoall(){
	uint32_t pt = StartAddressUID;
	Flash_Erase(pt);
	set_default_password();
	remove_all_finger();
	CLCD_I2C_Display(&LCD1, " REMOVE ALL CARD", "  SUCCESSFULLY");
	HAL_Delay(1000);
}

void addface(uint8_t key)
{
    memset(Rx_Buffer, 0, sizeof(Rx_Buffer));
    snprintf(Tx_Buffer, sizeof(Tx_Buffer), "Add.%d", key);
    CDC_Transmit_FS(Tx_Buffer, strlen(Tx_Buffer));
    CLCD_I2C_Display(&LCD1, "WAITING....", "");
    exitmenu = 60;
    while(exitmenu != 0){
        if(Rx_Buffer[0] == 'T'){
            CLCD_I2C_Display(&LCD1, "   ADD FACEID", "   SUCCESSFUL");
            buzzer(1);
            HAL_Delay(2000);
            break;
        }
        else if(Rx_Buffer[0] == 'F'){
            CLCD_I2C_Display(&LCD1, "ERROR: UNKNOWN", "");
            buzzer(5);
            HAL_Delay(2000);
            break;
        }
    }
    memset(Rx_Buffer, 0, sizeof(Rx_Buffer));
}

void removeface(uint8_t key)
{
    memset(Rx_Buffer, 0, sizeof(Rx_Buffer));
    snprintf(Tx_Buffer, sizeof(Tx_Buffer), "Rem.%d", key);
    CDC_Transmit_FS(Tx_Buffer, strlen(Tx_Buffer));
    CLCD_I2C_Display(&LCD1, "WAITING....", "");
    exitmenu = 60;
    while(exitmenu != 0){
        if(Rx_Buffer[0] == 'T'){
            CLCD_I2C_Display(&LCD1, "XOA THANH CONG", "");
            buzzer(1);
            HAL_Delay(2000);
            break;
        }
        else if(Rx_Buffer[0] == 'F'){
            CLCD_I2C_Display(&LCD1, "ERROR: UNKOWN", "");
            buzzer(5);
            HAL_Delay(2000);
            break;
        }
    }
    memset(Rx_Buffer, 0, sizeof(Rx_Buffer));
}

uint8_t checkfaceid(uint8_t key){
    memset(Rx_Buffer, 0, sizeof(Rx_Buffer));
    snprintf(Tx_Buffer, sizeof(Tx_Buffer), "Che.%d", key);
    CDC_Transmit_FS(Tx_Buffer, strlen(Tx_Buffer));
    while(Rx_Buffer[0] == 0){
        continue;
    }
    HAL_Delay(1000);
    if(Rx_Buffer[0] == 'T'){
        return key;
    } else if(Rx_Buffer[0] == 'F'){
        return 0;
    }
    memset(Rx_Buffer, 0, sizeof(Rx_Buffer));
    return 0;
}
//---------- them van tay---------------
void add_finger()
{
    ID = InputID_FINGER();
    if(CheckKeyFinger(ID)!=0)
    {
		CLCD_I2C_Display(&LCD1," ID is existing"," Pick another ID");
		buzzer(3);
		HAL_Delay(1000);
    }
    else{
        uint32_t start_time_finger = HAL_GetTick();
        while (1)
        {
            if (HAL_GetTick() - start_time_finger > 20000) // 15 seconds timeout
            {
                CLCD_I2C_Display(&LCD1, "TIMEOUT", "Try again");
                buzzer(5);
                HAL_Delay(2000);
                return;
            }

            collect_finger();
            CLCD_I2C_Display(&LCD1, "Add Finger Print", "Put your finger!!     ");
            HAL_Delay(1000);

            CLCD_I2C_SetCursor(&LCD1, 0, 1);
            CLCD_I2C_WriteString(&LCD1,"Reading finger...!!     ");
            tmp=0xff;
            while(tmp!=0x00){
                collect_finger();
                collect_finger();
                tmp= collect_finger();
                if (HAL_GetTick() - start_time_finger > 20000) // 15 seconds timeout
                {
                    CLCD_I2C_Display(&LCD1, "TIMEOUT", "Try again");
                    buzzer(5);
                    HAL_Delay(2000);
                    exitmenu = Delaymenu;
                    return;
                }
            }
            tmp=0xff;
            CLCD_I2C_SetCursor(&LCD1, 0, 1);
            CLCD_I2C_WriteString(&LCD1,"Remove Finger!!   ");HAL_Delay(100);
            CLCD_I2C_SetCursor(&LCD1, 0, 1);
            CLCD_I2C_WriteString(&LCD1,"Processing Finger!!   ");
            tmp=0xff;
            while(tmp!=0x00)    {
                tmp=img2tz(0x01);
                if (HAL_GetTick() - start_time_finger > 20000) // 15 seconds timeout
                {
                    CLCD_I2C_Display(&LCD1, "TIMEOUT", "Try again");
                    buzzer(5);
                    HAL_Delay(2000);
                    exitmenu = Delaymenu;
                    return;
                }
            }
            CLCD_I2C_SetCursor(&LCD1, 0, 1);
            CLCD_I2C_WriteString(&LCD1,"put finger again");HAL_Delay(100);
            CLCD_I2C_SetCursor(&LCD1, 0, 1);
            CLCD_I2C_WriteString(&LCD1,"Reading finger...!!     ");
            tmp=0xff;
            while(tmp!=0x00)    {
                collect_finger();
                collect_finger();
                tmp=collect_finger();
                if (HAL_GetTick() - start_time_finger > 20000) // 15 seconds timeout
                {
                    CLCD_I2C_Display(&LCD1, "TIMEOUT", "Try again");
                    buzzer(5);
                    HAL_Delay(2000);
                    exitmenu = Delaymenu;
                    return;
                }
            }
            CLCD_I2C_SetCursor(&LCD1, 0, 1);
            CLCD_I2C_WriteString(&LCD1,"Remove Finger!!   ");HAL_Delay(100);
            tmp=0xff;
            CLCD_I2C_SetCursor(&LCD1, 0, 1);
            CLCD_I2C_WriteString(&LCD1,"Processing Finger!!   ");
            while(tmp!=0x00)    {
                tmp=img2tz(0x02);
                if (HAL_GetTick() - start_time_finger > 20000) // 15 seconds timeout
                {
                    CLCD_I2C_Display(&LCD1, "TIMEOUT", "Try again");
                    buzzer(5);
                    HAL_Delay(2000);
                    exitmenu = Delaymenu;
                    return;
                }
            }
            tmp=0xff;
            while(tmp!=0x00)
            {
                tmp=match();
                if (tmp==0x08 || tmp==0x01)
                {
                    CLCD_I2C_SetCursor(&LCD1, 0, 1);
                    CLCD_I2C_WriteString(&LCD1," ER: try again!");buzzer(5);HAL_Delay(1500);
                    return;
                }
                if (HAL_GetTick() - start_time_finger > 20000) // 15 seconds timeout
                {
                    CLCD_I2C_Display(&LCD1, "TIMEOUT", "Try again");
                    buzzer(5);
                    HAL_Delay(2000);
                    exitmenu = Delaymenu;
                    return;
                }
            }
            tmp=0xff;
            while(tmp!=0x00){
                tmp=regmodel();
                if (HAL_GetTick() - start_time_finger > 20000) // 15 seconds timeout
                {
                    CLCD_I2C_Display(&LCD1, "TIMEOUT", "Try again");
                    buzzer(5);
                    HAL_Delay(2000);
                    exitmenu = Delaymenu;
                    return;
                }
            }
            tmp=0xff;
            while(tmp!=0x00){
                tmp=store(ID);
                if (HAL_GetTick() - start_time_finger > 20000) // 15 seconds timeout
                {
                    CLCD_I2C_Display(&LCD1, "TIMEOUT", "Try again");
                    buzzer(5);
                    HAL_Delay(2000);
                    exitmenu = Delaymenu;
                    return;
                }
            }
            CLCD_I2C_SetCursor(&LCD1, 0, 1);
            CLCD_I2C_WriteString(&LCD1,"  Save Finger!    ");
            buzzer(1);
        	AddFingerID(ID);
            HAL_Delay(1500);
            CLCD_I2C_Clear(&LCD1);
            break;
        }
    }
}
//----------end them van tay---------------
void read_finger()
{
/**************************BEgin Doc van tay*****************************/
	tmp=0xff;
	time_cho=HAL_GetTick();
	while(tmp!=0x00){
		tmp=collect_finger();
		if(HAL_GetTick()-time_cho>=1600) {
		time_cho=HAL_GetTick();
		return;}

	}
	tmp=0xff;
	if(tmp!=0x00){tmp=img2tz(0x01);}
	tmp=0xff;
	tmp=search();
	if(tmp==0x00)
	{
		tmp=0xff;	// co van tay
		CLCD_I2C_Display(&LCD1, "    WELCOME", " Finger");
		sprintf(mess,"-ID = %d  ", pID); // Use %d for integer
		CLCD_I2C_WriteString(&LCD1,mess);
		opendoor();
		CLCD_I2C_Clear(&LCD1);
	}
	if(tmp==0x09)	// khong co van tay
	{
		tmp=0xff;
		CLCD_I2C_SetCursor(&LCD1, 0, 1);
		CLCD_I2C_WriteString(&LCD1,"Wrong Fingerprint"); buzzer(5);HAL_Delay(1000);
		CLCD_I2C_WriteString(&LCD1,mess);
		HAL_Delay(1000);
		CLCD_I2C_Clear(&LCD1);
	}
}
void remove_id_finger()
{
    ID = InputID_FINGER();
    if(CheckKeyFinger(ID)==0)
    {
		CLCD_I2C_Display(&LCD1,"ID doesnt exist"," Pick another ID");
		buzzer(3);
		HAL_Delay(1000);
    }
    else{
		CLCD_I2C_Display(&LCD1, "Removing Finger", "");
		uint8_t result = delete_id_finger(ID);
		if (result == 0x00)
		{
			CLCD_I2C_Display(&LCD1, "Remove Finger", "Successfully");
			buzzer(1);
	    	RemoveFingerID(CheckKeyFinger(ID));
			// Ensure the fingerprint is removed from memory
			fingerprint_detected = 0;
		}
		else
		{
			char buffer[16];
			snprintf(buffer, sizeof(buffer), "Error Code: %02X", result);
			buzzer(5);
			CLCD_I2C_Display(&LCD1, "Remove Finger", buffer);
		}
		HAL_Delay(2000);
		CLCD_I2C_Clear(&LCD1);
    }
}

void remove_all_finger()
{
    CLCD_I2C_Display(&LCD1, "  RM ALL FINGER", "  Processing...");
    uint8_t result = empty();
    if (result == 0x00)
    {
        CLCD_I2C_Display(&LCD1, "   REMOVE ALL", "  SUCCESSFULLY");
        buzzer(1);
    	Flash_Erase(StartAddressFingerID);
        // Ensure all fingerprints are removed from memory
        fingerprint_detected = 0;
    }
    else
    {
        char buffer[16];
        snprintf(buffer, sizeof(buffer), "Error Code: %02X", result);
        buzzer(5);
        CLCD_I2C_Display(&LCD1, "Remove Finger", buffer);
    }
    HAL_Delay(2000);
    CLCD_I2C_Clear(&LCD1);
}
uint32_t CheckKeyFinger(uint8_t key)
{
    uint32_t pt = StartAddressFingerID;
    while (Flash_Read_2Byte(pt) != 0xFFFF)
    {
        if (*(uint8_t *)(pt) == key)
            return pt;
        pt = pt + 2;
	    }
    return 0;
}
void AddFingerID(uint8_t key)
{
	uint32_t pt = StartAddressFingerID;
	while (Flash_Read_2Byte(pt) != 0xFFFF)
	{
		pt = pt + 2;
	}
	FingerID[0] = key;
	Flash_Write_Array(pt, FingerID, 1);
}

void RemoveFingerID(uint32_t addressrm)
{
	Flash_Write_2Byte(addressrm, 0xFFFF);
}

void startface(void)
{
	if(Rx_Buffer[0] == 'Y'){
        CLCD_I2C_Clear(&LCD1);
        CLCD_I2C_SetCursor(&LCD1, 0, 0);
        CLCD_I2C_WriteString(&LCD1, "    WELCOME");
        opendoor();
//        HAL_Delay(2000);
	}else if(Rx_Buffer[0] == 'N'){
		CLCD_I2C_Display(&LCD1, "  WRONG FACEID", "CAN NOT ACCESS");
		buzzer(5);
        HAL_Delay(2000);
	}
	memset(Rx_Buffer, 0, sizeof(Rx_Buffer));
}

void enter_password(char *password) {
    for (int i = 0; i < 6; i++) {
        char key;
        do {
            key = KeyPad_WaitForKeyGetChar(10);
        } while (key == 0 || (key < '0' || key > '9')); // Only accept numeric keys
        buzzer(1);
        password[i] = key;
        CLCD_I2C_WriteChar(&LCD1, '*');
    }
    password[6] = '\0';
}

void change_password(void) {
    char new_password[7] = {0};
    CLCD_I2C_Display(&LCD1, " ENTER NEW PASS", "     ");
    enter_password(new_password);
    // Erase the flash memory at the password address before writing the new password
    Flash_Erase(StartAddressPassword);
    Flash_Write_Array(StartAddressPassword, (uint8_t *)new_password, 6);
    CLCD_I2C_Display(&LCD1, "PASSWORD CHANGED", "  SUCCESSFULLY");
    buzzer(1);
    HAL_Delay(2000);
}

uint8_t check_password(char *password) {
    char stored_password[7] = {0};
    Flash_Read_Array(StartAddressPassword, (uint8_t *)stored_password, 6);
    stored_password[6] = '\0';
    return strcmp(password, stored_password) == 0;
}

void set_default_password(void) {
    char default_password[6] = "111111";
    // Erase the flash memory at the password address before writing the default password
    Flash_Erase(StartAddressPassword);
    Flash_Write_Array(StartAddressPassword, (uint8_t *)default_password, 6);
    CLCD_I2C_Display(&LCD1, " RESET PASSWORD", "  SUCCESSFULLY");
    buzzer(1);
    HAL_Delay(1500);
    CLCD_I2C_Display(&LCD1, "  NEW PASSWORD:", "     111111");
    HAL_Delay(1000);
    exitmenu=0;
}

void opendoor(void)
{
    buzzer(1);
    HAL_GPIO_WritePin(LOCK_GPIO_Port, LOCK_Pin, 1);
    HAL_Delay(1500);
    uint32_t door_open_time = HAL_GetTick();
    while ((HAL_GetTick() - door_open_time) < opendoortime)
    {
        uint32_t remaining_time = (opendoortime - (HAL_GetTick() - door_open_time) + 999) / 1000; // Adjust to include 2s
        char buffer[16];
        snprintf(buffer, sizeof(buffer), "       %lus", remaining_time);
        CLCD_I2C_Display(&LCD1, " DOOR IS OPENING", buffer);
        HAL_Delay(1000);
    }
    HAL_GPIO_WritePin(LOCK_GPIO_Port, LOCK_Pin, 0);
    CLCD_I2C_Clear(&LCD1);
}
void buzzer( uint8_t countbeep)
{

	while(countbeep--)
	{
		HAL_GPIO_WritePin(BUZZER_GPIO_Port, BUZZER_Pin,0);
		HAL_Delay(120);
		HAL_GPIO_WritePin(BUZZER_GPIO_Port, BUZZER_Pin,1);
		HAL_Delay(50);
	}
}

/* USER CODE END 4 */

void Error_Handler(void)
{
  __disable_irq();
  while (1)
  {
  }
}

/************************ (C) COPYRIGHT STMicroelectronics *****END OF FILE****/
